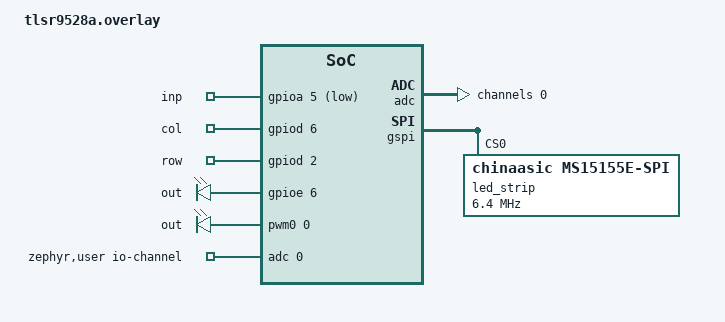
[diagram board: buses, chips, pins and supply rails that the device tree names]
#include <zephyr/dt-bindings/led/led.h>
/ {
	/* Short TL_Key3 (J5 pin 13) to ground (J3 pin 24, 26, 28, 30) */
	key_pool {
		compatible = "gpio-keys";

		inp {
			gpios = <&gpioa 5 (GPIO_ACTIVE_LOW | GPIO_PULL_UP)>;
					/* <&gpiof 7 (GPIO_ACTIVE_LOW | GPIO_PULL_UP)>; */
		};
	};

	key_matrix {
		compatible = "gpio-keys";

		col {
			gpios = <&gpiod 6 GPIO_ACTIVE_HIGH>,
					<&gpiof 6 GPIO_ACTIVE_HIGH>;
		};

		row {
			gpios = <&gpiod 2 (GPIO_PULL_DOWN | GPIO_ACTIVE_HIGH)>,
					<&gpiod 7 (GPIO_PULL_DOWN | GPIO_ACTIVE_HIGH)>;
		};
	};

	led_pool {
		compatible = "gpio-leds";

		out {
			gpios = <&gpioe 6 GPIO_ACTIVE_HIGH>;
		};
	};

	pwm_pool {
		compatible = "pwm-leds";
		out {
			pwms = 	<&pwm0 0 PWM_HZ(4000) PWM_POLARITY_NORMAL>,
					<&pwm0 1 PWM_HZ(4000) PWM_POLARITY_NORMAL>;
					/*<&pwm0 2 PWM_HZ(4000) PWM_POLARITY_NORMAL>,
					<&pwm0 3 PWM_HZ(4000) PWM_POLARITY_NORMAL>,
					<&pwm0 4 PWM_HZ(4000) PWM_POLARITY_NORMAL>;*/
		};
	};

	zephyr,user {
		/* adjust channel number according to pinmux in board.dts for adc demo. */
		io-channels = <&adc 0>;
	};

};

&pwm0 {
	/* On board RGB LEDs */
	pinctrl-ch0 = <&pwm_ch0_pa0_default>;
	pinctrl-ch1 = <&pwm_ch1_pa2_default>;
	/*pinctrl-ch2 = <&pwm_ch2_pa1_default>;
	pinctrl-ch3 = <&pwm_ch3_pa3_default>;
	pinctrl-ch4 = <&pwm_ch4_pa4_default>;*/
};

&pinctrl {
	pwm_ch0_pa0_default: pwm_ch0_pa0_default {
		pinmux = <B9x_PINMUX_SET(B9x_PORT_A, B9x_PIN_0, B92_FUNC_PWM0)>;
	};
	pwm_ch1_pa2_default: pwm_ch1_pa2_default {
		pinmux = <B9x_PINMUX_SET(B9x_PORT_A, B9x_PIN_2, B92_FUNC_PWM1)>;
	};
	/*pwm_ch2_pa1_default: pwm_ch2_pa1_default {
		pinmux = <B9x_PINMUX_SET(B9x_PORT_A, B9x_PIN_1, B92_FUNC_PWM2)>;
	};
	pwm_ch3_pa3_default: pwm_ch3_pa3_default {
		pinmux = <B9x_PINMUX_SET(B9x_PORT_A, B9x_PIN_3, B92_FUNC_PWM3)>;
	};
	pwm_ch4_pa4_default: pwm_ch4_pa4_default {
		pinmux = <B9x_PINMUX_SET(B9x_PORT_A, B9x_PIN_4, B92_FUNC_PWM4)>;
	};*/
};

&adc {
	/* the channel setting for adc demo. */

	#address-cells = <1>;
	#size-cells = <0>;

	channel@0 {
		reg = <0>;
		zephyr,gain = "ADC_GAIN_1_4";
		zephyr,reference = "ADC_REF_INTERNAL";
		zephyr,acquisition-time = <ADC_ACQ_TIME_DEFAULT>;
		zephyr,resolution = <14>;
		zephyr,input-positive = <DT_ADC_GPIO_PB1>;
	};
};


&gspi {
	led_strip: ms15155e@0 {
		compatible = "chinaasic,ms15155e-spi";

		/* SPI */
		reg = <0>; /* ignored, but necessary for SPI bindings */
		spi-max-frequency = <6400000>;

		/* MS15155E */
		chain-length = <1>; /* arbitrary; change at will */
		spi-cpha;
		spi-one-frame = <0xfc>; /* 11111100: 937.5 ns high and 312.5 ns low */
		spi-zero-frame = <0xc0>; /* 11000000: 312.5 ns high and 937.5 ns low */
		color-mapping = <LED_COLOR_ID_RED
                 LED_COLOR_ID_GREEN
                 LED_COLOR_ID_BLUE
                 LED_COLOR_ID_AMBER
                 LED_COLOR_ID_YELLOW>;
	};
};

/ {
	aliases {
		led-strip = &led_strip;
	};
};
